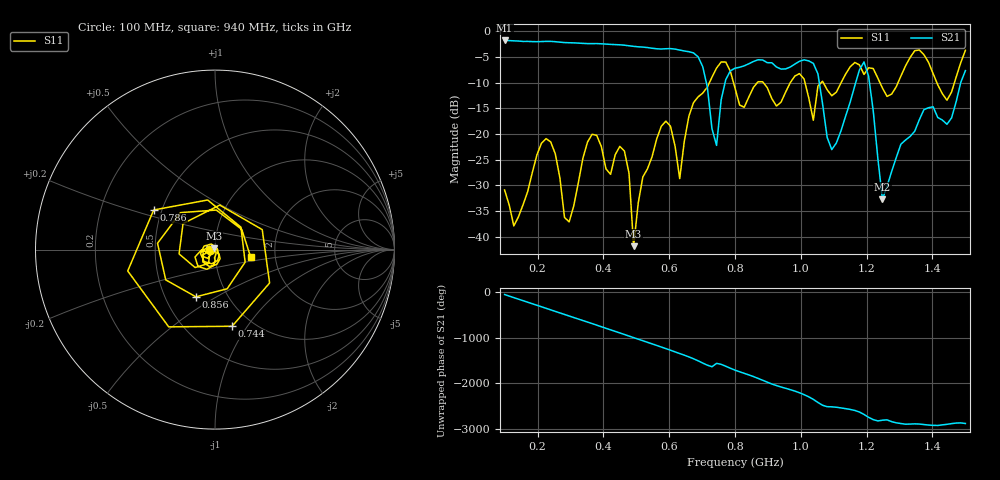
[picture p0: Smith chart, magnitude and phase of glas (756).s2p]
! NanoVNA-App
! Date: 2025-09-25 16:01:22
! Start: 100MHz Stop: 1,5GHz Points: 101
! S-Parameter data: F S11 S21 S12 S22
# Hz S RI R 50
!  Frequency  S11_Real  S11_Imag  S21_Real  S21_Imag  S12_Real  S12_Imag  S22_Real  S22_Imag
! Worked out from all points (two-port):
!   101 points, 100 MHz to 1.5 GHz, reference 50 ohm
!   highest |S21| = -1.80 dB at 100 MHz (marker M1); lowest = -32.7 dB at 1.248 GHz (marker M2)
!   |S21| within 3 dB of the highest: start of sweep to 684.5 MHz
!   lowest |S11| = -41.9 dB at 492 MHz (marker M3), VSWR 1.02, Z = 49.5 + j0.63 ohm
!   |S11| at or under -10 dB: start of sweep to 722.4 MHz; 795.4 MHz to 868 MHz (72.57 MHz wide, 8.73 % of centre); 885.9 MHz to 968.2 MHz (82.24 MHz wide, 8.87 % of centre) (the widest 3 of 7)
!   S12 and S22 are empty: the file has one direction only
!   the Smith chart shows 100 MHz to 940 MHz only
!   S11 on the Smith chart (normalised r, x): 100 MHz: 0.94, -0.01; 744 MHz: 0.81, -0.85; 786 MHz: 0.45, +0.24; 856 MHz: 0.71, -0.41; 940 MHz: 1.49, -0.14
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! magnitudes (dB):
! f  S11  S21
! 100 MHz  -30.9  -1.8
! 128 MHz  -37.9  -1.9
! 226 MHz  -20.9  -2.0
! 296 MHz  -37.1  -2.2
! 338 MHz  -24.7  -2.4
! 464 MHz  -23.3  -2.7
! 492 MHz  -41.9  -2.9
! 576 MHz  -18.5  -3.5
! 632 MHz  -28.7  -3.7
! 702 MHz  -12.1  -6.9
! 744 MHz  -7.2  -22.2
! 786 MHz  -7.8  -7.7
! 800 MHz  -11.1  -7.2
! 856 MHz  -10.9  -5.9
! 940 MHz  -13.8  -7.4
! 1.038 GHz  -17.3  -6.3
! 1.094 GHz  -12.6  -23.1
! 1.192 GHz  -8.4  -6.0
! 1.248 GHz  -11.1  -32.7
! 1.276 GHz  -12.2  -27.3
! 1.444 GHz  -13.4  -18.1
! 1.5 GHz  -3.7  -7.7
